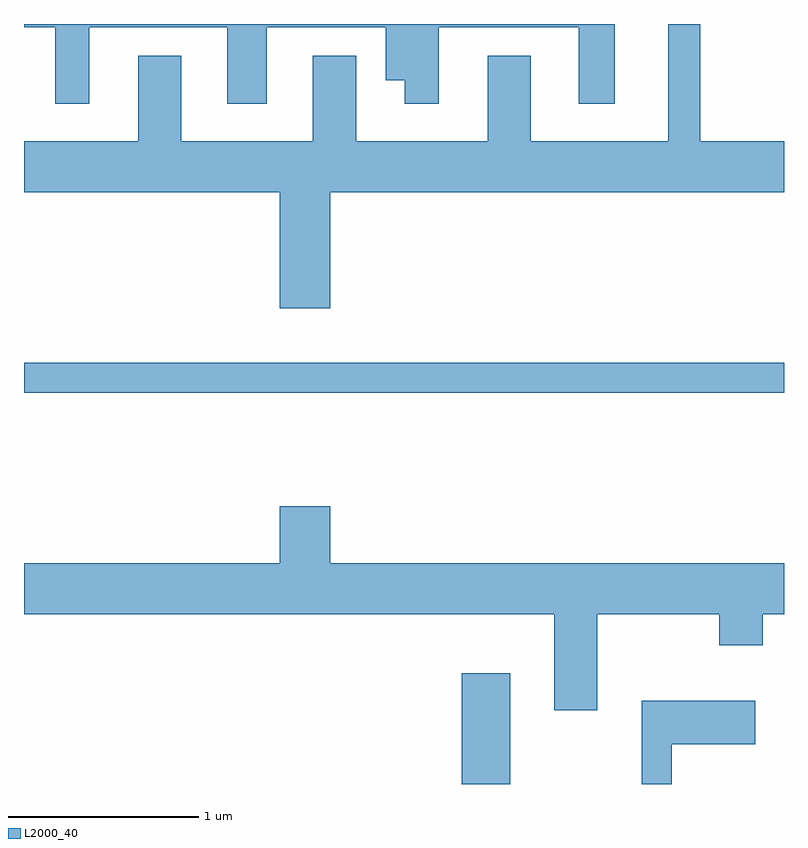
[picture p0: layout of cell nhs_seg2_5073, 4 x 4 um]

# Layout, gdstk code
import gdstk
lib = gdstk.Library(unit=1e-6, precision=1e-09)
def R(c, l, rs):  # rectangles x0, y0, x1, y1
    for r in rs: c.add(gdstk.rectangle(r[:2], r[2:], *l))
def P(c, l, *ps):  # polygons
    for p in ps: c.add(gdstk.Polygon(p, *l))
L2000_40 = (2000, 40)

nhs_seg2_5073 = lib.new_cell('nhs_seg2_5073')
R(nhs_seg2_5073, L2000_40, [(335.916,1111.802,336.169,1112.384), (333.611,1113.861,337.611,1114.019)])
P(nhs_seg2_5073, L2000_40, [(335.224,1114.916),(337.611,1114.916),(337.611,1115.184),(337.169,1115.184),(337.169,1115.802),(337.001,1115.802),(337.001,1115.184),(336.279,1115.184),(336.279,1115.634),(336.051,1115.634),(336.051,1115.184),(335.359,1115.184),(335.359,1115.634),(335.131,1115.634),(335.131,1115.184),(334.439,1115.184),(334.439,1115.634),(334.211,1115.634),(334.211,1115.184),(333.611,1115.184),(333.611,1114.916),(334.956,1114.916),(334.956,1114.306),(335.224,1114.306)],
  [(333.954,1115.786),(334.681,1115.786),(334.681,1115.381),(334.889,1115.381),(334.889,1115.786),(335.516,1115.786),(335.516,1115.506),(335.616,1115.506),(335.616,1115.381),(335.794,1115.381),(335.794,1115.786),(336.531,1115.786),(336.531,1115.381),(336.719,1115.381),(336.719,1115.802),(333.611,1115.802),(333.611,1115.786),(333.776,1115.786),(333.776,1115.381),(333.954,1115.381)],
  [(336.629,1112.696),(337.271,1112.696),(337.271,1112.531),(337.499,1112.531),(337.499,1112.696),(337.611,1112.696),(337.611,1112.964),(335.224,1112.964),(335.224,1113.264),(334.956,1113.264),(334.956,1112.964),(333.611,1112.964),(333.611,1112.696),(336.401,1112.696),(336.401,1112.191),(336.629,1112.191)],
  [(337.019,1112.011),(337.459,1112.011),(337.459,1112.239),(336.861,1112.239),(336.861,1111.802),(337.019,1111.802)])

lib.write_gds('nhs_seg2_5073.gds')
